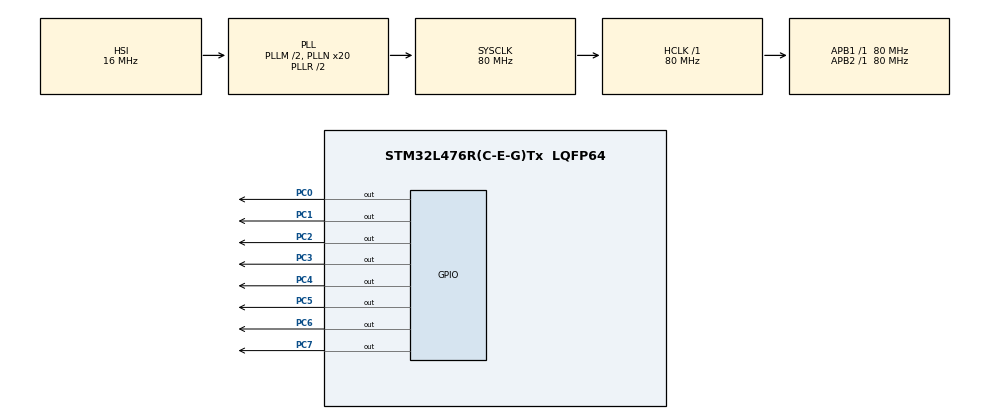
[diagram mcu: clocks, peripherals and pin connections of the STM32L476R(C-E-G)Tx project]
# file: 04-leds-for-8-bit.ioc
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Mcu.Family=STM32L4
Mcu.Name=STM32L476R(C-E-G)Tx
Mcu.Package=LQFP64
NVIC.PriorityGroup=NVIC_PRIORITYGROUP_4
PC0.Signal=GPIO_Output
PC1.Signal=GPIO_Output
PC2.Signal=GPIO_Output
PC3.Signal=GPIO_Output
PC4.Signal=GPIO_Output
PC5.Signal=GPIO_Output
PC6.Signal=GPIO_Output
PC7.Signal=GPIO_Output
ProjectManager.HeapSize=0x200
ProjectManager.StackSize=0x400
ProjectManager.TargetToolchain=STM32CubeIDE
RCC.ADCFreq_Value=32000000
RCC.AHBFreq_Value=80000000
RCC.APB1Freq_Value=80000000
RCC.APB1TimFreq_Value=80000000
RCC.APB2Freq_Value=80000000
RCC.APB2TimFreq_Value=80000000
RCC.CortexFreq_Value=80000000
RCC.HCLKFreq_Value=80000000
RCC.HSE_VALUE=8000000
RCC.HSI_VALUE=16000000
RCC.MSI_VALUE=4000000
RCC.PLLM=2
RCC.PLLN=20
RCC.PLLSourceVirtual=RCC_PLLSOURCE_HSI
RCC.PREFETCH_ENABLE=1
RCC.SYSCLKFreq_VALUE=80000000
RCC.SYSCLKSource=RCC_SYSCLKSOURCE_PLLCLK
RCC.USBFreq_Value=32000000
RCC.VCOOutputFreq_Value=160000000
board=NUCLEO-L476RG

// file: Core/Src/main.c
/* USER CODE BEGIN Header */
/**
  ******************************************************************************
  * @file           : main.c
  * @brief          : Main program body
  ******************************************************************************
  * @attention
  *
  * Copyright (c) 2025 STMicroelectronics.
  * All rights reserved.
  *
  * This software is licensed under terms that can be found in the LICENSE file
  * in the root directory of this software component.
  * If no LICENSE file comes with this software, it is provided AS-IS.
  *
  ******************************************************************************
  */
/* USER CODE END Header */
#include "main.h"

void SystemClock_Config(void);
static void MX_GPIO_Init(void);

int main(void)
{

  /* USER CODE BEGIN 1 */
  int NumCount = 0;
  int BitLength = 8;
  /* USER CODE END 1 */

  /* MCU Configuration--------------------------------------------------------*/

  /* Reset of all peripherals, Initializes the Flash interface and the Systick. */
  HAL_Init();

  /* Configure the system clock */
  SystemClock_Config();

  /* Initialize all configured peripherals */
  MX_GPIO_Init();
  /* USER CODE BEGIN 2 */
  int LED_array[] = {led0, led1, led2, led3, led4, led5, led6, led7};    //LED array

  void FlashLED(int NumCount, int BitLength){
    int BitArrayPosition = 1;
    //check every bit position of LED array
    for(int i = 0; i < BitLength; i++){
      //When bit position match the bit position, turn on LED.
      if((NumCount & BitArrayPosition) != 0){
        HAL_GPIO_WritePin(GPIOC, LED_array[i], GPIO_PIN_SET);    //Turn on LED
      }
      else{
    	HAL_GPIO_WritePin(GPIOC, LED_array[i], GPIO_PIN_RESET);    //Turn off LED
      }
      BitArrayPosition = BitArrayPosition << 1;    //Shift left by 1
    }
  }
  /* USER CODE END 2 */

  /* Infinite loop */
  /* USER CODE BEGIN WHILE */
  while (1)
  {
    FlashLED(NumCount, BitLength);    //Flash LED
    if(NumCount == 255){
      NumCount = 0;    //restore number count
    }
    else {
      NumCount++;    //add count number
    }
    HAL_Delay(500);    //Delay
    /* USER CODE END WHILE */

  }
}

void SystemClock_Config(void)
{
  RCC_OscInitTypeDef RCC_OscInitStruct = {0};
  RCC_ClkInitTypeDef RCC_ClkInitStruct = {0};

  /** Configure the main internal regulator output voltage
  */
  if (HAL_PWREx_ControlVoltageScaling(PWR_REGULATOR_VOLTAGE_SCALE1) != HAL_OK)
  {
    Error_Handler();
  }

  /** Initializes the RCC Oscillators according to the specified parameters
  * in the RCC_OscInitTypeDef structure.
  */
  RCC_OscInitStruct.OscillatorType = RCC_OSCILLATORTYPE_HSI;
  RCC_OscInitStruct.HSIState = RCC_HSI_ON;
  RCC_OscInitStruct.HSICalibrationValue = RCC_HSICALIBRATION_DEFAULT;
  RCC_OscInitStruct.PLL.PLLState = RCC_PLL_ON;
  RCC_OscInitStruct.PLL.PLLSource = RCC_PLLSOURCE_HSI;
  RCC_OscInitStruct.PLL.PLLM = 2;
  RCC_OscInitStruct.PLL.PLLN = 20;
  RCC_OscInitStruct.PLL.PLLP = RCC_PLLP_DIV7;
  RCC_OscInitStruct.PLL.PLLQ = RCC_PLLQ_DIV2;
  RCC_OscInitStruct.PLL.PLLR = RCC_PLLR_DIV2;
  if (HAL_RCC_OscConfig(&RCC_OscInitStruct) != HAL_OK)
  {
    Error_Handler();
  }

  /** Initializes the CPU, AHB and APB buses clocks
  */
  RCC_ClkInitStruct.ClockType = RCC_CLOCKTYPE_HCLK|RCC_CLOCKTYPE_SYSCLK
                              |RCC_CLOCKTYPE_PCLK1|RCC_CLOCKTYPE_PCLK2;
  RCC_ClkInitStruct.SYSCLKSource = RCC_SYSCLKSOURCE_PLLCLK;
  RCC_ClkInitStruct.AHBCLKDivider = RCC_SYSCLK_DIV1;
  RCC_ClkInitStruct.APB1CLKDivider = RCC_HCLK_DIV1;
  RCC_ClkInitStruct.APB2CLKDivider = RCC_HCLK_DIV1;

  if (HAL_RCC_ClockConfig(&RCC_ClkInitStruct, FLASH_LATENCY_4) != HAL_OK)
  {
    Error_Handler();
  }
}

static void MX_GPIO_Init(void)
{
  GPIO_InitTypeDef GPIO_InitStruct = {0};

  /* GPIO Ports Clock Enable */
  __HAL_RCC_GPIOC_CLK_ENABLE();

  /*Configure GPIO pin Output Level */
  HAL_GPIO_WritePin(GPIOC, GPIO_PIN_0|GPIO_PIN_1|GPIO_PIN_2|GPIO_PIN_3
                          |GPIO_PIN_4|GPIO_PIN_5|GPIO_PIN_6|GPIO_PIN_7, GPIO_PIN_RESET);

  /*Configure GPIO pins : PC0 PC1 PC2 PC3
                           PC4 PC5 PC6 PC7 */
  GPIO_InitStruct.Pin = GPIO_PIN_0|GPIO_PIN_1|GPIO_PIN_2|GPIO_PIN_3
                          |GPIO_PIN_4|GPIO_PIN_5|GPIO_PIN_6|GPIO_PIN_7;
  GPIO_InitStruct.Mode = GPIO_MODE_OUTPUT_PP;
  GPIO_InitStruct.Pull = GPIO_NOPULL;
  GPIO_InitStruct.Speed = GPIO_SPEED_FREQ_LOW;
  HAL_GPIO_Init(GPIOC, &GPIO_InitStruct);

}

void Error_Handler(void)
{
  __disable_irq();
  while (1)
  {
  }
}
